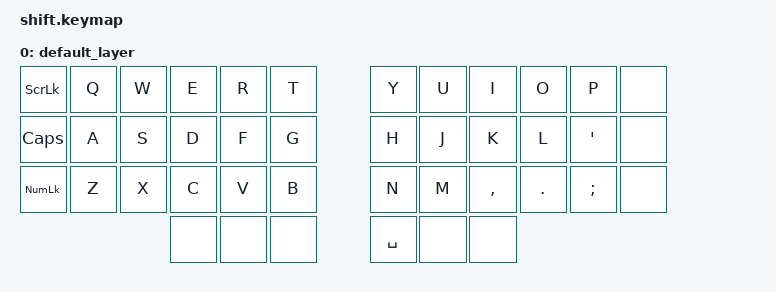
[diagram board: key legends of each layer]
/*
 * Copyright (c) 2020 The ZMK Contributors
 *
 * SPDX-License-Identifier: MIT
 */

#include <behaviors.dtsi>
#include <dt-bindings/zmk/keys.h>

/ {
    keymap {
        compatible = "zmk,keymap";

        default_layer {
            bindings = <
       &kp SLCK     &kp Q      &kp W      &kp E       &kp R          &kp T         &kp Y            &kp U          &kp I       &kp O      &kp P    &none
       &kp CAPS     &kp A      &kp S      &kp D       &kp F          &kp G         &kp H            &kp J          &kp K       &kp L      &kp QUOT &none
       &kp KP_NUM   &kp Z      &kp X      &kp C       &kp V          &kp B         &kp N            &kp M          &kp COMMA   &kp DOT    &kp SEMI &none
                                          &none   &none          &none        &kp SPACE  &none     &none
            >;
        };
    };
};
